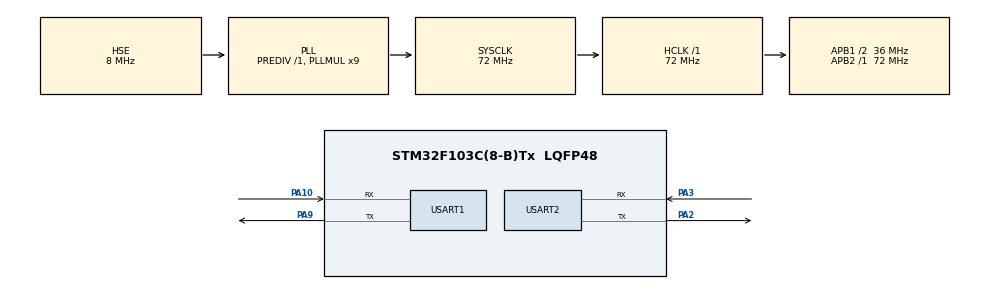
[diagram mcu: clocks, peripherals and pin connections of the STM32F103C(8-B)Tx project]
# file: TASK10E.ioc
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Mcu.Family=STM32F1
Mcu.Name=STM32F103C(8-B)Tx
Mcu.Package=LQFP48
NVIC.PriorityGroup=NVIC_PRIORITYGROUP_4
NVIC.USART1_IRQn=true\:0\:0\:false\:false\:true\:true\:true\:true
PA10.Mode=Asynchronous
PA10.Signal=USART1_RX
PA13.Mode=Serial_Wire
PA13.Signal=SYS_JTMS-SWDIO
PA14.Mode=Serial_Wire
PA14.Signal=SYS_JTCK-SWCLK
PA2.Mode=Asynchronous
PA2.Signal=USART2_TX
PA3.Mode=Asynchronous
PA3.Signal=USART2_RX
PA9.Mode=Asynchronous
PA9.Signal=USART1_TX
PD0-OSC_IN.Mode=HSE-External-Oscillator
PD0-OSC_IN.Signal=RCC_OSC_IN
PD1-OSC_OUT.Mode=HSE-External-Oscillator
PD1-OSC_OUT.Signal=RCC_OSC_OUT
ProjectManager.HeapSize=0x200
ProjectManager.StackSize=0x400
ProjectManager.TargetToolchain=STM32CubeIDE
RCC.AHBFreq_Value=72000000
RCC.APB1CLKDivider=RCC_HCLK_DIV2
RCC.APB1Freq_Value=36000000
RCC.APB1TimFreq_Value=72000000
RCC.APB2Freq_Value=72000000
RCC.APB2TimFreq_Value=72000000
RCC.HCLKFreq_Value=72000000
RCC.PLLMUL=RCC_PLL_MUL9
RCC.PLLSourceVirtual=RCC_PLLSOURCE_HSE
RCC.SYSCLKFreq_VALUE=72000000
RCC.SYSCLKSource=RCC_SYSCLKSOURCE_PLLCLK
RCC.USBFreq_Value=72000000
USART1.VirtualMode=VM_ASYNC
USART2.VirtualMode=VM_ASYNC
board=custom

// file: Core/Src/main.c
/* USER CODE BEGIN Header */
/**
  ******************************************************************************
  * @file           : main.c
  * @brief          : Main program body
  ******************************************************************************
  * @attention
  *
  * Copyright (c) 2026 STMicroelectronics.
  * All rights reserved.
  *
  * This software is licensed under terms that can be found in the LICENSE file
  * in the root directory of this software component.
  * If no LICENSE file comes with this software, it is provided AS-IS.
  *
  ******************************************************************************
  */
/* USER CODE END Header */
#include "main.h"
/* USER CODE BEGIN Includes */
#include <stdio.h>
#include <string.h>
/* USER CODE END Includes */

/* USER CODE BEGIN PTD */
//HTTP Server Related
typedef enum { CLOSED, CONNECTED, DATA } connection_state;
typedef struct {
	connection_state state;
	char data[128];
} connection;
/* USER CODE END PTD */

UART_HandleTypeDef huart1;
UART_HandleTypeDef huart2;

/* USER CODE BEGIN PV */
connection connections[5];
uint8_t byteRecieved;
char request[128];
char tmpbuf[256];
/* USER CODE END PV */

void SystemClock_Config(void);
static void MX_GPIO_Init(void);
static void MX_USART1_UART_Init(void);
static void MX_USART2_UART_Init(void);

/* USER CODE BEGIN 0 */
// UART Related
void onWifiDisconnect();
void sendUART(UART_HandleTypeDef *huart, char inp[]) {
    HAL_UART_Transmit(huart, (uint8_t *)inp, strlen(inp), HAL_MAX_DELAY);
    HAL_UART_Transmit(huart, (uint8_t *)"\r\n", 2, HAL_MAX_DELAY);
}

void recieveUART(UART_HandleTypeDef *huart, char* buf,int size) {
	uint8_t c;
	int lInd = 0;
	while (1) {
		if (HAL_UART_Receive(huart, &c, 1, HAL_MAX_DELAY) == HAL_OK) {
			if ((c == '\r') || (c == '\n')) {
				if (lInd > 0) {
					buf[lInd] = '\0';
					return;
				}
			} else if (lInd < size - 1) {
				buf[lInd++] = c;
			}
		}
	}
}

// Wifi Related
int sendATCommand(UART_HandleTypeDef *huart, char atCMD[],char *output,int outputSize) {
	output[0] = '\0';
	sendUART(huart, atCMD);
	char recBuf[512];
	while (1) {
		recieveUART(huart, recBuf, 64);
		strncat(output,recBuf, outputSize - strlen(output) - 1);
		strncat(output,"\r\n", outputSize - strlen(output) - 1);
		if (strcmp(recBuf, "OK") == 0) {
			return 1;
		} else if (strcmp(recBuf, "ERROR") == 0 || strcmp(recBuf, "FAIL") == 0) {
			return 0;
		}
	}
}

int initWifi(UART_HandleTypeDef *huart) {
	HAL_Delay(2000);
	__HAL_UART_CLEAR_OREFLAG(huart);
	char buf[32];
	sendATCommand(huart, "ATE0", buf, sizeof(buf));
	return sendATCommand(huart, "AT", buf, sizeof(buf));
}

int setMode(UART_HandleTypeDef *huart, char mode[], char *outBuf,int outBufSize) {
	outBuf[0] = '\0';
	char toSend[16];
	if (strcmp(mode,"STATION") == 0) {
		strcpy(toSend,"AT+CWMODE=1");
	} else if (strcmp(mode,"AP") == 0) {
		strcpy(toSend,"AT+CWMODE=2");
	} else if (strcmp(mode,"STATION_AP") == 0) {
		strcpy(toSend,"AT+CWMODE=3");
	} else {
		return -1;
	}
	return sendATCommand(huart, toSend, outBuf, outBufSize);
}

int joinAP(UART_HandleTypeDef *huart, char ssid[], char password[], char *outBuf,int outBufSize) {
	outBuf[0] = '\0';
	char toSend[128] = "AT+CWJAP=\"";
	strcat(toSend, ssid);
	strcat(toSend, "\",\"");
	strcat(toSend,password);
	strcat(toSend,"\"");
	return sendATCommand(huart, toSend, outBuf, outBufSize);
}

int getMAC(UART_HandleTypeDef *huart, char* macBuf,int macBufSize) {
	macBuf[0] = '\0';
	char outBuf[256];
	int ret = sendATCommand(huart, "AT+CIFSR", outBuf, sizeof(outBuf));
	if (ret) {
		char *mac = strstr(outBuf,"STAMAC");
		if (mac == NULL) {
			return 0;
		} else {
			mac += 8;
			int lastInd = 0;
			while (lastInd < macBufSize - 1 && *mac != '\0') {
				if (*mac == '\"') break;
				macBuf[lastInd++] = *mac;
				mac++;
			}
			macBuf[lastInd] = '\0';
		}
	}
	return ret;
}

int getIP(UART_HandleTypeDef *huart, char* ipBuf,int ipBufSize) {
	ipBuf[0] = '\0';
	char outBuf[256];
	int ret = sendATCommand(huart, "AT+CIFSR", outBuf, sizeof(outBuf));
	if (ret) {
		char *ip = strstr(outBuf,"STAIP");
		if (ip == NULL) {
			return 0;
		} else {
			ip += 7;
			int lastInd = 0;
			while (lastInd < ipBufSize - 1 && *ip != '\0') {
				if (*ip == '\"') break;
				ipBuf[lastInd++] = *ip;
				ip++;
			}
			ipBuf[lastInd] = '\0';
		}
	}
	return ret;
}

//HTTP Server Related
void HAL_UART_RxCpltCallback(UART_HandleTypeDef *huart) {
	if (huart->Instance == USART1) {
		int ind = strlen(request);
		if ((byteRecieved != '\r' && byteRecieved != '\n') && (ind < (int)sizeof(request)-1)) {
			request[ind++] = byteRecieved;
			request[ind] = '\0';
		} else {
			if (strstr(request,"WIFI DISCONNECT") != NULL) {
				onWifiDisconnect();
			} else if (strstr(request,"CONNECT") != NULL) {
				if (request[0] >= '0' && request[0] <= '4' && request[1] == ',')
					connections[request[0] - '0'].state = CONNECTED;
			} else if (strstr(request,"CLOSED") != NULL) {
				if (request[0] >= '0' && request[0] <= '4' && request[1] == ',')
					connections[request[0] - '0'].state = CLOSED;
			}  else {
				char* req = strstr(request,"+IPD");
				if (req != NULL) {
					req += 5;
					int link = *req - '0';
					req += 2;
					while (*req != ':' && *req != '\0') {
						req++;
					}
					if (link >= 0 && link <= 4 && *req == ':') {
						req += 1;
						if (connections[link].state != DATA) {
							strcpy(connections[link].data,req);
							connections[link].state = DATA;
						}
					}
				}
			}
			request[0] = '\0';
		}
		HAL_UART_Receive_IT(&huart1, &byteRecieved, 1);
	}
}

void HAL_UART_ErrorCallback(UART_HandleTypeDef *huart) {
	if (huart->Instance == USART1) {
		request[0] = '\0';
		HAL_UART_Receive_IT(&huart1, &byteRecieved, 1);
	}
}

int initServer() {
	char outBuf[8];
	int r1 = sendATCommand(&huart1, "AT+CIPMUX=1", outBuf, sizeof(outBuf));
	if (!r1) {
		return r1;
	}
	if (r1) {
		r1 = sendATCommand(&huart1, "AT+CIPSERVER=1,80", outBuf, sizeof(outBuf));
		HAL_UART_Receive_IT(&huart1, &byteRecieved, 1);
	}
	return r1;
}

int sendHTML(char content[],char type[],int link) {
	char out[1024];
	char toSend[32];
	int len = snprintf(out,sizeof(out),"HTTP/1.1 200 OK\r\nContent-Type: %s\r\nContent-Length: %d\r\n\r\n%s",type,strlen(content),content);
	if (len >= (int)sizeof(out)) len = sizeof(out) - 1;
	snprintf(toSend,sizeof(toSend),"AT+CIPSEND=%d,%d",link,len);

	HAL_UART_AbortReceive(&huart1);

	// Step 1 - CIPSEND command
	char line[80];
	snprintf(line,sizeof(line),">> %s",toSend);
	sendUART(&huart2, line);
	int ret = sendATCommand(&huart1, toSend, tmpbuf, sizeof(tmpbuf));
	if (ret) {
		uint8_t c;
		do {
			HAL_UART_Receive(&huart1, &c, 1, HAL_MAX_DELAY);
		} while (c != '>');
		sendUART(&huart2, "<< >");

		// Step 2 - HTTP response
		HAL_UART_Transmit(&huart1, (uint8_t *)out, len, HAL_MAX_DELAY);

		char recBuf[64];
		do {
			recieveUART(&huart1, recBuf, sizeof(recBuf));
		} while (strcmp(recBuf, "SEND OK") != 0 && strcmp(recBuf, "SEND FAIL") != 0 && strcmp(recBuf, "ERROR") != 0);
		ret = (strcmp(recBuf, "SEND OK") == 0);
		snprintf(line,sizeof(line),"<< %s",recBuf);
		sendUART(&huart2, line);
	}

	snprintf(toSend,sizeof(toSend),"AT+CIPCLOSE=%d",link);
	sendATCommand(&huart1, toSend, tmpbuf, sizeof(tmpbuf));
	connections[link].state = CLOSED;

	request[0] = '\0';
	HAL_UART_Receive_IT(&huart1, &byteRecieved, 1);
	return ret;
}

void handleResponse(void (*respHandler)(char*,int)) {
	for (int i = 0;i < 5;i++) {
		if (connections[i].state == DATA) {
			char* url = strstr(connections[i].data,"GET");
			if (url != NULL) {
				url += 4;
				char urlRec[32];
				int lInd = 0;
				while (*url != ' ') {
					urlRec[lInd++] = *url++;
				}
				urlRec[lInd] = '\0';
				respHandler(urlRec,i);
			} else {
				sendHTML("Not found","text/html",i);
			}
		}
	}
}

void handleRouting(char url[],int client) {
	char toPrint[160];
	// The HTTP request received in the +IPD notification
	snprintf(toPrint,sizeof(toPrint),"+IPD,%d:%s",client,connections[client].data);
	sendUART(&huart2, toPrint);
	if (!strcmp(url,"/")) {
		sendHTML("<html><body><h1>STM32 IoT Node</h1></body></html>","text/html",client);
	} else {
		sendHTML("Page not found","text/html",client);
	}
}

void onWifiDisconnect() {
	HAL_UART_AbortReceive(&huart1);
	sendUART(&huart2, "Wifi Disconnected. Reconnecting...");
	char data[32];
	data[0] = '\0';
	while (strcmp(data,"WIFI GOT IP")) {
		recieveUART(&huart1, data, sizeof(data));
	}
	sendUART(&huart2, "Connected. Reinitializing Server");
	initServer();
	sendUART(&huart2, "Server initialized successfully");
}
/* USER CODE END 0 */

int main(void)
{

  /* MCU Configuration--------------------------------------------------------*/

  /* Reset of all peripherals, Initializes the Flash interface and the Systick. */
  HAL_Init();

  /* Configure the system clock */
  SystemClock_Config();

  /* Initialize all configured peripherals */
  MX_GPIO_Init();
  MX_USART1_UART_Init();
  MX_USART2_UART_Init();
  /* USER CODE BEGIN 2 */
  char buf[128];
  char ip[64];
  int ret;
  sendUART(&huart2, "Initializing Wifi...");
  initWifi(&huart1);
  sendUART(&huart2, "Initialized Wifi");
  setMode(&huart1, "STATION", buf, sizeof(buf));

  sendUART(&huart2, "Connecting to Wifi...");
  ret = joinAP(&huart1, "SNUC", "snu12345", buf, sizeof(buf));
  if (ret) {
	  sendUART(&huart2, "Connected to Wifi Successfully");
	  getIP(&huart1, ip, sizeof(ip));
	  snprintf(buf, sizeof(buf), "IP Address: %s", ip);
	  sendUART(&huart2, buf);

	  // AT+CIPMUX=1 (multiple connections) and AT+CIPSERVER=1,80
	  ret = initServer();
	  if (ret) {
		  sendUART(&huart2, "TCP server started on port 80");
	  } else {
		  sendUART(&huart2, "Failed to start TCP server");
	  }
  } else {
	  sendUART(&huart2, "Failed to connect to wifi");
  }
  /* USER CODE END 2 */

  /* Infinite loop */
  while (1)
  {

    /* USER CODE BEGIN 3 */
	if (ret) {
		// Answer every +IPD request with the static HTML page
		handleResponse(handleRouting);
	}
  }
  /* USER CODE END 3 */
}

void SystemClock_Config(void)
{
  RCC_OscInitTypeDef RCC_OscInitStruct = {0};
  RCC_ClkInitTypeDef RCC_ClkInitStruct = {0};

  /** Initializes the RCC Oscillators according to the specified parameters
  * in the RCC_OscInitTypeDef structure.
  */
  RCC_OscInitStruct.OscillatorType = RCC_OSCILLATORTYPE_HSE;
  RCC_OscInitStruct.HSEState = RCC_HSE_ON;
  RCC_OscInitStruct.HSEPredivValue = RCC_HSE_PREDIV_DIV1;
  RCC_OscInitStruct.HSIState = RCC_HSI_ON;
  RCC_OscInitStruct.PLL.PLLState = RCC_PLL_ON;
  RCC_OscInitStruct.PLL.PLLSource = RCC_PLLSOURCE_HSE;
  RCC_OscInitStruct.PLL.PLLMUL = RCC_PLL_MUL9;
  if (HAL_RCC_OscConfig(&RCC_OscInitStruct) != HAL_OK)
  {
    Error_Handler();
  }

  /** Initializes the CPU, AHB and APB buses clocks
  */
  RCC_ClkInitStruct.ClockType = RCC_CLOCKTYPE_HCLK|RCC_CLOCKTYPE_SYSCLK
                              |RCC_CLOCKTYPE_PCLK1|RCC_CLOCKTYPE_PCLK2;
  RCC_ClkInitStruct.SYSCLKSource = RCC_SYSCLKSOURCE_PLLCLK;
  RCC_ClkInitStruct.AHBCLKDivider = RCC_SYSCLK_DIV1;
  RCC_ClkInitStruct.APB1CLKDivider = RCC_HCLK_DIV2;
  RCC_ClkInitStruct.APB2CLKDivider = RCC_HCLK_DIV1;

  if (HAL_RCC_ClockConfig(&RCC_ClkInitStruct, FLASH_LATENCY_2) != HAL_OK)
  {
    Error_Handler();
  }
}

static void MX_USART1_UART_Init(void)
{

  huart1.Instance = USART1;
  huart1.Init.BaudRate = 115200;
  huart1.Init.WordLength = UART_WORDLENGTH_8B;
  huart1.Init.StopBits = UART_STOPBITS_1;
  huart1.Init.Parity = UART_PARITY_NONE;
  huart1.Init.Mode = UART_MODE_TX_RX;
  huart1.Init.HwFlowCtl = UART_HWCONTROL_NONE;
  huart1.Init.OverSampling = UART_OVERSAMPLING_16;
  if (HAL_UART_Init(&huart1) != HAL_OK)
  {
    Error_Handler();
  }

}

static void MX_USART2_UART_Init(void)
{

  huart2.Instance = USART2;
  huart2.Init.BaudRate = 115200;
  huart2.Init.WordLength = UART_WORDLENGTH_8B;
  huart2.Init.StopBits = UART_STOPBITS_1;
  huart2.Init.Parity = UART_PARITY_NONE;
  huart2.Init.Mode = UART_MODE_TX_RX;
  huart2.Init.HwFlowCtl = UART_HWCONTROL_NONE;
  huart2.Init.OverSampling = UART_OVERSAMPLING_16;
  if (HAL_UART_Init(&huart2) != HAL_OK)
  {
    Error_Handler();
  }

}

static void MX_GPIO_Init(void)
{

  /* GPIO Ports Clock Enable */
  __HAL_RCC_GPIOD_CLK_ENABLE();
  __HAL_RCC_GPIOA_CLK_ENABLE();

}

void Error_Handler(void)
{
  __disable_irq();
  while (1)
  {
  }
}
